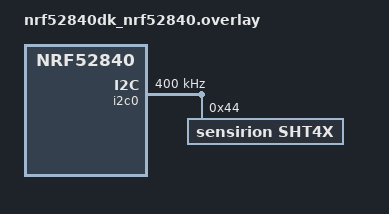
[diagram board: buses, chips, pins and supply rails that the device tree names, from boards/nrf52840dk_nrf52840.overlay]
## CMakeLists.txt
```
#
# Copyright (c) 2021 Nordic Semiconductor ASA
#
# SPDX-License-Identifier: LicenseRef-Nordic-5-Clause
#

cmake_minimum_required(VERSION 3.20.0)

find_package(Zephyr HINTS $ENV{ZEPHYR_BASE})

project(NRF52840DK_MATTER_SHT4x)

# Enable GNU STD support and initialize the Matter Data Model.
include(${ZEPHYR_CONNECTEDHOMEIP_MODULE_DIR}/config/nrfconnect/app/enable-gnu-std.cmake)
include(${ZEPHYR_CONNECTEDHOMEIP_MODULE_DIR}/src/app/chip_data_model.cmake)

# NORDIC SDK APP START

# Include all source files that are located in the Matter common directory.
include(${ZEPHYR_NRF_MODULE_DIR}/samples/matter/common/cmake/source_common.cmake)

target_include_directories(app PRIVATE
    src
    ${CONFIG_NCS_SAMPLE_MATTER_ZAP_FILES_PATH}
)

target_sources(app PRIVATE
    src/app_task.cpp
    src/main.cpp
)

chip_configure_data_model(app
    INCLUDE_SERVER
    BYPASS_IDL
    GEN_DIR ${CONFIG_NCS_SAMPLE_MATTER_ZAP_FILES_PATH}/zap-generated
    ZAP_FILE ${CMAKE_CURRENT_SOURCE_DIR}/${CONFIG_NCS_SAMPLE_MATTER_ZAP_FILES_PATH}/template.zap
)
# NORDIC SDK APP END
```

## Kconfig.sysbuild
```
#
# Copyright (c) 2023 Nordic Semiconductor ASA
#
# SPDX-License-Identifier: LicenseRef-Nordic-5-Clause
#

config WIFI_NRF70
	default y if BOARD_NRF7002DK

#### Radio core selection
config NRF_DEFAULT_IPC_RADIO
	default y

# Enable IEEE802.15.4 serialization to network core
# This config automatically pulls in the `overlay-802154.conf` in the ipc_radio image
config NETCORE_IPC_RADIO_IEEE802154
	default y if SOC_SERIES_NRF53X && !WIFI_NRF70

# Enable Bluetooth serialization to network core
# This config automatically pulls in the `overlay-bt_hci_ipc.conf` in the ipc_radio image
config NETCORE_IPC_RADIO_BT_HCI_IPC
	default y if SOC_SERIES_NRF53X


config MATTER_OTA
	default n if !BOARD_NRF21540DK

#### Bootloader
choice BOOTLOADER
	default BOOTLOADER_MCUBOOT if BOARD_NRF21540DK
endchoice

if BOOTLOADER_MCUBOOT

#### DFU multi-image support
config DFU_MULTI_IMAGE_PACKAGE_BUILD
	default y

config DFU_MULTI_IMAGE_PACKAGE_APP
	default y

config PM_EXTERNAL_FLASH_MCUBOOT_SECONDARY
	default y

#### DFU network core configuration
if SOC_SERIES_NRF53X

config MCUBOOT_UPDATEABLE_IMAGES
	default 2

choice MCUBOOT_MODE
	default MCUBOOT_MODE_OVERWRITE_ONLY
endchoice

choice BOOT_SIGNATURE_TYPE
	default BOOT_SIGNATURE_TYPE_RSA
endchoice

config SECURE_BOOT_NETCORE
	default y

config NETCORE_APP_UPDATE
	default y

config DFU_MULTI_IMAGE_PACKAGE_NET
	default y

endif # SOC_SERIES_NRF53X

if BOARD_NRF54L15DK

# Disable checking the external drivers for nRF54L15 DKs.
config PM_OVERRIDE_EXTERNAL_DRIVER_CHECK
	default y

# override the mcuboot pad size, because it is not set globally for NS build.
config PM_MCUBOOT_PAD
	default 0x800

endif # BOARD_NRF54L15DK

endif # BOOTLOADER_MCUBOOT

#### Enable generating factory data
config MATTER_FACTORY_DATA_GENERATE
	default y if !BOARD_NRF21540DK

source "share/sysbuild/Kconfig"
```

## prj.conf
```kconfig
#
# Copyright (c) 2021 Nordic Semiconductor ASA
#
# SPDX-License-Identifier: LicenseRef-Nordic-5-Clause
#

# This sample uses Kconfig.defaults to set options common for all
# samples. This file should contain only options specific for this sample
# or overrides of default values.

# Enable CHIP
CONFIG_CHIP=y
CONFIG_CHIP_PROJECT_CONFIG="src/chip_project_config.h"
# 32768 == 0x8000 (example Product ID added temporaly,
# but it must be changed with proper PID from the list:
# https://github.com/project-chip/connectedhomeip/blob/482e6fd03196a6de45465a90003947ef4b86e0b1/docs/examples/discussion/PID_allocation_for_example_apps.md)
CONFIG_CHIP_DEVICE_PRODUCT_ID=32768
CONFIG_STD_CPP17=y

# Enable Matter pairing automatically on application start.
CONFIG_CHIP_ENABLE_PAIRING_AUTOSTART=y

# Enable Matter extended announcement and increase duration to 1 hour.
CONFIG_CHIP_BLE_EXT_ADVERTISING=y
CONFIG_CHIP_BLE_ADVERTISING_DURATION=60

# Add support for LEDs and buttons on Nordic development kits
CONFIG_DK_LIBRARY=y

# Bluetooth Low Energy configuration
CONFIG_BT_DEVICE_NAME="MatterTemplate"

# Other settings
CONFIG_THREAD_NAME=y
CONFIG_MPU_STACK_GUARD=y
CONFIG_RESET_ON_FATAL_ERROR=n
CONFIG_CHIP_LIB_SHELL=y
CONFIG_NCS_SAMPLE_MATTER_TEST_SHELL=y

# Disable NFC commissioning
CONFIG_CHIP_NFC_COMMISSIONING=n

# Reduce application size
CONFIG_USE_SEGGER_RTT=n

# Enable Factory Data feature
CONFIG_CHIP_FACTORY_DATA=y
CONFIG_CHIP_FACTORY_DATA_BUILD=y

# Support SHT4x Driver
CONFIG_CBPRINTF_FP_SUPPORT=y
CONFIG_I2C=y
CONFIG_SENSOR=y

#CONFIG_LOG=y
#CONFIG_SENSOR_LOG_LEVEL_DBG=y

# Matter ICD (SIT)
CONFIG_DK_LIBRARY=n
CONFIG_CHIP_ENABLE_ICD_SUPPORT=y
CONFIG_CHIP_ICD_SLOW_POLL_INTERVAL=15000
CONFIG_LOG=n
CONFIG_PM_DEVICE=y
CONFIG_RAM_POWER_DOWN_LIBRARY=y

CONFIG_CHIP_BOOTLOADER_NONE=y
```

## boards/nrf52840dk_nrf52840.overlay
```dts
/* Copyright (c) 2021 Nordic Semiconductor ASA
 *
 * SPDX-License-Identifier: LicenseRef-Nordic-5-Clause
 */

/ {
	chosen {
		nordic,pm-ext-flash = &mx25r64;
	};
};


/ {
	/*
	* In some default configurations within the nRF Connect SDK,
	* e.g. on nRF52840, the chosen zephyr,entropy node is &cryptocell.
	* This devicetree overlay ensures that default is overridden wherever it
	* is set, as this application uses the RNG node for entropy exclusively.
	*/
	chosen {
		zephyr,entropy = &rng;
	};
};

&i2c0 { /* SDA P0.26, SCL P0.27,  */
	status = "okay";
	clock-frequency = <I2C_BITRATE_FAST>;
	sht4x@44 {
		status = "okay";
		compatible = "sensirion,sht4x";
		reg = <0x44>;
		repeatability = <2>;
	};
};

/* Disable unused peripherals to reduce power consumption */
&uart0 {
    status = "disabled";
};
&adc {
	status = "disabled";
};
&uart1 {
	status = "disabled";
};

&pwm0 {
	status = "disabled";
};
&spi1 {
	status = "disabled";
};
&spi3 {
	status = "disabled";
};
&usbd {
	status = "disabled";
};
```

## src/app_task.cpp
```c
/*
 * Copyright (c) 2021 Nordic Semiconductor ASA
 *
 * SPDX-License-Identifier: LicenseRef-Nordic-5-Clause
 */

#include "app_task.h"

#include "app/matter_init.h"
#include "app/task_executor.h"
#include "board/board.h"
#include "lib/core/CHIPError.h"
#include "lib/support/CodeUtils.h"

#include <setup_payload/OnboardingCodesUtil.h>

#include <zephyr/logging/log.h>

#include <app-common/zap-generated/attributes/Accessors.h>

/* related sensor */
#include <zephyr/drivers/sensor.h>
#include <zephyr/drivers/sensor/sht4x.h>

#if !DT_HAS_COMPAT_STATUS_OKAY(sensirion_sht4x)
#error "No sensirion,sht4x compatible node found in the device tree"
#endif

//#define CONFIG_USE_VIRTUAL_SENSOR_DATA 
#define CONFIG_USE_REAL_SENSOR_DATA
#if defined(CONFIG_USE_VIRTUAL_SENSOR_DATA) && defined(CONFIG_USE_REAL_SENSOR_DATA)
  #error "Only one of CONFIG_USE_VIRTUAL_SENSOR_DATA or CONFIG_USE_REAL_SENSOR_DATA must be defined"
#endif

// 온습도 업데이트 주기 (60초)
#define SENSOR_UPDATE_PERIOD_MS (60*1000)
// 온습도 업데이트 스레드
K_THREAD_STACK_DEFINE(sensor_stack, 2048);
struct k_thread sensor_thread_data;

LOG_MODULE_DECLARE(app, CONFIG_CHIP_APP_LOG_LEVEL);

using namespace ::chip;
using namespace ::chip::app;
using namespace ::chip::DeviceLayer;

static const struct device *sht;

// 엔드포인트 ID (ZAP에서 설정한 값)
constexpr chip::EndpointId kEndpointId = 1;

#if defined(CONFIG_USE_VIRTUAL_SENSOR_DATA)
// 가상 온도 센서 데이터를 읽어오는 함수
float ReadTemperatureSensorVirtual( float *temperatureC )
{
    // 20~30°C 
    *temperatureC += 0.1f;
    if( *temperatureC > 30.0f) 
      *temperatureC = 20.0f;

    LOG_DBG("Virtual Temperature: %.2f°C", (double)(*temperatureC));

    return *temperatureC;
}

// 실제 센서 드라이버에서 상대습도(%)를 읽어오는 함수 (현재는 가상 데이터)
float ReadHumiditySensorVirtual( float *humidityRH )
{
    // 40~60%
    *humidityRH += 0.1f;
    if( *humidityRH > 60.0f) 
      *humidityRH = 40.0f;

    LOG_DBG("Virtual Humidity: %.2f%%", (double)(*humidityRH));

    return *humidityRH;
}

// 가상 센서 데이터를 읽어오는 함수
void GetVirtualSensorData(float *temperatureC, float *humidityRH)
{
    *temperatureC = ReadTemperatureSensorVirtual(temperatureC);
    *humidityRH   = ReadHumiditySensorVirtual(humidityRH);
}
#endif

#if defined(CONFIG_USE_REAL_SENSOR_DATA)
void GetRealSensorData(float *temperatureC, float *humidityRH)
{
    if (!sht) {
        LOG_ERR("SHT4x device not found");
        *temperatureC = 20.0f;
        *humidityRH = 40.0f;
        return;
    }

    // 센서 샘플 가져오기
    if (sensor_sample_fetch(sht) < 0) {
        LOG_ERR("Failed to fetch sample");
    } else {
        struct sensor_value temp, hum;
        sensor_channel_get(sht, SENSOR_CHAN_AMBIENT_TEMP, &temp);
        sensor_channel_get(sht, SENSOR_CHAN_HUMIDITY, &hum);

        *temperatureC = temp.val1 + (temp.val2 / 1000000.0f); // °C
        *humidityRH   = hum.val1 + (hum.val2 / 1000000.0f); // %
        LOG_DBG("Real Temperature: %.2f°C, Humidity: %.2f%%", 
                (double)(*temperatureC), (double)(*humidityRH));
    }
}
#endif

void GetSensorData(float *temperatureC, float *humidityRH)
{
  #if defined(CONFIG_USE_VIRTUAL_SENSOR_DATA)
  GetVirtualSensorData(temperatureC, humidityRH);
  #endif
  #if defined(CONFIG_USE_REAL_SENSOR_DATA)
  GetRealSensorData(temperatureC, humidityRH);
  #endif
}

// 온습도 값을 Matter 속성에 업데이트하는 함수
void UpdateTemperatureHumidity(float temperatureC, float humidityRH)
{
    using namespace chip::app::Clusters;
    using chip::Protocols::InteractionModel::Status;

    // 2) Matter 단위로 변환 (0.01 단위)
    // Temperature: 0.01°C 단위
    int16_t tempValue = static_cast<int16_t>(temperatureC * 100);
    // Humidity: 0.01% 단위  
    uint16_t humValue = static_cast<uint16_t>(humidityRH * 100);

    // 3) Temperature 속성 업데이트
    Status statusTemp = TemperatureMeasurement::Attributes::MeasuredValue::Set(kEndpointId, tempValue);
    
    if (statusTemp != Status::Success) {
        LOG_ERR("Failed to update temperature: 0x%02X", static_cast<uint8_t>(statusTemp));
    } else {
        LOG_DBG("Temperature updated: %d (%.2f°C)", tempValue, (double)(temperatureC));
    }

    // 4) Humidity 속성 업데이트 (ZAP 파일에 클러스터 추가 필요)
    // 주의: RelativeHumidityMeasurement 클러스터가 ZAP 파일에 추가되어야 함
    Status statusHum = RelativeHumidityMeasurement::Attributes::MeasuredValue::Set(kEndpointId, humValue);
    
    if (statusHum != Status::Success) {
        LOG_ERR("Failed to update humidity: 0x%02X", static_cast<uint8_t>(statusHum));
    } else {
        LOG_DBG("Humidity updated: %d (%.2f%%)", humValue, (double)(humidityRH));
    }
}

// 센서 업데이트 스레드 함수
void sensor_thread_func(void *arg1, void *arg2, void *arg3)
{
    float temperatureC = 25.0f;
    float humidityRH   = 50.0f;

    ARG_UNUSED(arg1);
    ARG_UNUSED(arg2);
    ARG_UNUSED(arg3);

    LOG_INF("Sensor thread started");

    // Matter 스택이 초기화될 때까지 대기
    k_sleep(K_SECONDS(5));

    while (1) {
        GetSensorData( &temperatureC, &humidityRH);
        UpdateTemperatureHumidity(temperatureC, humidityRH);
        k_sleep(K_MSEC(SENSOR_UPDATE_PERIOD_MS));
    }
}

#if defined(CONFIG_USE_REAL_SENSOR_DATA)
static bool sensor_device_init( void )
{
    LOG_INF("Initializing SHT4x sensor...");
    
    /* Get device handle */
    sht = DEVICE_DT_GET_ANY(sensirion_sht4x);
    if (!device_is_ready(sht)) {
        LOG_ERR("Failed to get SHT4x device");
        return false;
    }
    
   
    LOG_INF("SHT4x sensor initialized successfully");

    /* Perform initial reading */
    struct sensor_value temp, hum;
    if (sensor_sample_fetch(sht) < 0) {
        LOG_ERR("Failed to fetch initial sample from SHT4x");
        return false;
    } else {
        sensor_channel_get(sht, SENSOR_CHAN_AMBIENT_TEMP, &temp);
        sensor_channel_get(sht, SENSOR_CHAN_HUMIDITY, &hum);
        #if 0
        LOG_INF("Initial Temperature: %d.%06d°C, Humidity: %d.%06d%%",
                temp.val1, temp.val2, hum.val1, hum.val2);

        #endif                
    }

    return true;
}
#endif

void set_thread_tx_power(int8_t power_dbm)
{
    otInstance *instance = openthread_get_default_instance();
    otPlatRadioSetTransmitPower(instance, power_dbm);
}

CHIP_ERROR AppTask::Init()
{
	/* Initialize Matter stack */
	ReturnErrorOnFailure(Nrf::Matter::PrepareServer());

	if (!Nrf::GetBoard().Init()) {
		LOG_ERR("User interface initialization failed.");
		return CHIP_ERROR_INCORRECT_STATE;
	}

  /* Initialize sensor */
  #if defined(CONFIG_USE_REAL_SENSOR_DATA)
  sensor_device_init();
  #endif

  k_thread_create(&sensor_thread_data,
                   sensor_stack,
                   K_THREAD_STACK_SIZEOF(sensor_stack),
                   sensor_thread_func,
                   NULL, NULL, NULL,
                   K_PRIO_COOP(5),
                   0, K_NO_WAIT);

	/* Register Matter event handler that controls the connectivity status LED based on the captured Matter network
	 * state. */
	ReturnErrorOnFailure(Nrf::Matter::RegisterEventHandler(Nrf::Board::DefaultMatterEventHandler, 0));

	return Nrf::Matter::StartServer();
}

CHIP_ERROR AppTask::StartApp()
{
	ReturnErrorOnFailure(Init());

    k_sleep(K_SECONDS(5));
    set_thread_tx_power(8);


	while (true) {
		Nrf::DispatchNextTask();
	}

	return CHIP_NO_ERROR;
}
```
